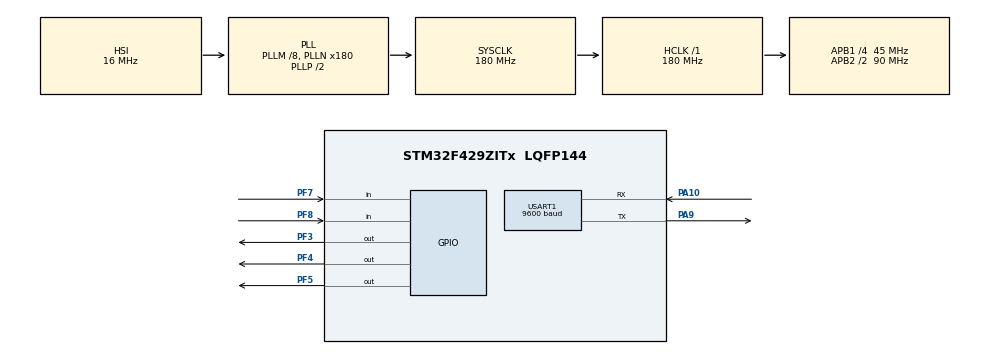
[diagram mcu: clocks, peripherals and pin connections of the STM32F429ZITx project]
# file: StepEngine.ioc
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Mcu.Family=STM32F4
Mcu.Name=STM32F429ZITx
Mcu.Package=LQFP144
NVIC.PriorityGroup=NVIC_PRIORITYGROUP_4
NVIC.USART1_IRQn=true\:0\:0\:false\:false\:true\:true\:true
PA10.Mode=Asynchronous
PA10.Signal=USART1_RX
PA9.Mode=Asynchronous
PA9.Signal=USART1_TX
PF3.Signal=GPIO_Output
PF4.Signal=GPIO_Output
PF5.Signal=GPIO_Output
PF7.Signal=GPIO_Input
PF8.Signal=GPIO_Input
PH0/OSC_IN.Mode=HSE-External-Oscillator
PH0/OSC_IN.Signal=RCC_OSC_IN
PH1/OSC_OUT.Mode=HSE-External-Oscillator
PH1/OSC_OUT.Signal=RCC_OSC_OUT
ProjectManager.HeapSize=0x200
ProjectManager.StackSize=0x400
ProjectManager.TargetToolchain=MDK-ARM V5
RCC.48MHZClocksFreq_Value=90000000
RCC.AHBFreq_Value=180000000
RCC.APB1CLKDivider=RCC_HCLK_DIV4
RCC.APB1Freq_Value=45000000
RCC.APB1TimFreq_Value=90000000
RCC.APB2CLKDivider=RCC_HCLK_DIV2
RCC.APB2Freq_Value=90000000
RCC.APB2TimFreq_Value=180000000
RCC.CortexFreq_Value=180000000
RCC.HCLKFreq_Value=180000000
RCC.HSE_VALUE=8000000
RCC.HSI_VALUE=16000000
RCC.LSE_VALUE=32768
RCC.PLLM=8
RCC.PLLN=180
RCC.SYSCLKFreq_VALUE=180000000
RCC.SYSCLKSource=RCC_SYSCLKSOURCE_PLLCLK
RCC.VCOOutputFreq_Value=360000000
USART1.BaudRate=9600
USART1.VirtualMode=VM_ASYNC
board=custom

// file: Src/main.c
/* USER CODE BEGIN Header */
/**
  ******************************************************************************
  * @file           : main.c
  * @brief          : Main program body
  ******************************************************************************
  * @attention
  *
  * <h2><center>&copy; Copyright (c) 2020 STMicroelectronics.
  * All rights reserved.</center></h2>
  *
  * This software component is licensed by ST under BSD 3-Clause license,
  * the "License"; You may not use this file except in compliance with the
  * License. You may obtain a copy of the License at:
  *                        opensource.org/licenses/BSD-3-Clause
  *
  ******************************************************************************
  */
/* USER CODE END Header */

#include "main.h"

UART_HandleTypeDef huart1;

void SystemClock_Config(void);
static void MX_GPIO_Init(void);
static void MX_USART1_UART_Init(void);

/* USER CODE BEGIN 0 */
uint8_t data[4];
uint16_t x;
//uint8_t some[5];
//uint16_t step = 0;
// Engine pin
#define 	EN   			GPIOF, GPIO_PIN_3
#define 	DIR  			GPIOF, GPIO_PIN_4
#define 	STEP 			GPIOF, GPIO_PIN_5

// User pin
#define 	left_but	HAL_GPIO_ReadPin(GPIOF, GPIO_PIN_7)
#define 	right_but	HAL_GPIO_ReadPin(GPIOF, GPIO_PIN_8)

void move(uint8_t x){

	if (x == 1){
		HAL_GPIO_WritePin(DIR, GPIO_PIN_SET);
		HAL_GPIO_WritePin(STEP, GPIO_PIN_SET);
		HAL_Delay(1);
		HAL_GPIO_WritePin(STEP, GPIO_PIN_RESET);
		HAL_Delay(1);
	}

	else if (x == 0){
		HAL_GPIO_WritePin(DIR, GPIO_PIN_RESET);
		HAL_GPIO_WritePin(STEP, GPIO_PIN_SET);
		HAL_Delay(1);
		HAL_GPIO_WritePin(STEP, GPIO_PIN_RESET);
		HAL_Delay(1);
	}
}

/* USER CODE END 0 */

int main(void)
{

  /* MCU Configuration--------------------------------------------------------*/

  /* Reset of all peripherals, Initializes the Flash interface and the Systick. */
  HAL_Init();

  /* Configure the system clock */
  SystemClock_Config();

  /* Initialize all configured peripherals */
  MX_GPIO_Init();
  MX_USART1_UART_Init();
  /* USER CODE BEGIN 2 */

	HAL_GPIO_WritePin(EN, GPIO_PIN_SET);

  /* USER CODE END 2 */

  /* Infinite loop */
  /* USER CODE BEGIN WHILE */
	//HAL_UART_Receive_IT(&huart1,(uint8_t*) data,8);
	HAL_UART_Receive_IT(&huart1,(uint8_t*) data, 4);
  while (1)
  {

		if(huart1.RxXferCount==0){
			HAL_UART_Receive_IT(&huart1,(uint8_t*) data, 4);

			x = (data[1] - '0') * 100 + (data[2] - '0') * 10 + (data[3] - '0');
			//x = 200;
			//HAL_UART_Transmit(&huart1, &data[0], 1, 0xFF);
			//HAL_UART_Transmit(&huart1, &data[1], 1, 0xFF);
			//HAL_UART_Transmit(&huart1, &data[2], 1, 0xFF);
			for (int i = 0; i < x; i++){
				move(data[0] - '0');
			}
		}

		if((right_but != GPIO_PIN_SET) && (left_but == GPIO_PIN_SET)){
			HAL_GPIO_WritePin(DIR, GPIO_PIN_SET);
			HAL_GPIO_WritePin(STEP, GPIO_PIN_SET);
			HAL_Delay(1);
			HAL_GPIO_WritePin(STEP, GPIO_PIN_RESET);
			HAL_Delay(1);
			//step--;
			//some[0] = (step / 10000);
			//some[1] = (step / 1000);
			//some[2] = (step / 100);
			//some[3] = (step / 10);
			//some[4] = (step / 1);
			//HAL_UART_Transmit(&huart1, some, 5, 0xFF);
		}

		else if((left_but != GPIO_PIN_SET) && (right_but == GPIO_PIN_SET)){
			HAL_GPIO_WritePin(DIR, GPIO_PIN_RESET);
			HAL_GPIO_WritePin(STEP, GPIO_PIN_SET);
			HAL_Delay(1);
			HAL_GPIO_WritePin(STEP, GPIO_PIN_RESET);
			HAL_Delay(1);
			//step++;
			//some[0] = (step / 10000);
			//some[1] = (step / 1000);
			//some[2] = (step / 100);
			//some[3] = (step / 10);
			//some[4] = (step / 1);
			//HAL_UART_Transmit(&huart1, some, 5, 0xFF);

		}
    /* USER CODE END WHILE */

  }
}

void SystemClock_Config(void)
{
  RCC_OscInitTypeDef RCC_OscInitStruct = {0};
  RCC_ClkInitTypeDef RCC_ClkInitStruct = {0};

  /** Configure the main internal regulator output voltage
  */
  __HAL_RCC_PWR_CLK_ENABLE();
  __HAL_PWR_VOLTAGESCALING_CONFIG(PWR_REGULATOR_VOLTAGE_SCALE1);
  /** Initializes the CPU, AHB and APB busses clocks
  */
  RCC_OscInitStruct.OscillatorType = RCC_OSCILLATORTYPE_HSI;
  RCC_OscInitStruct.HSIState = RCC_HSI_ON;
  RCC_OscInitStruct.HSICalibrationValue = RCC_HSICALIBRATION_DEFAULT;
  RCC_OscInitStruct.PLL.PLLState = RCC_PLL_ON;
  RCC_OscInitStruct.PLL.PLLSource = RCC_PLLSOURCE_HSI;
  RCC_OscInitStruct.PLL.PLLM = 8;
  RCC_OscInitStruct.PLL.PLLN = 180;
  RCC_OscInitStruct.PLL.PLLP = RCC_PLLP_DIV2;
  RCC_OscInitStruct.PLL.PLLQ = 4;
  if (HAL_RCC_OscConfig(&RCC_OscInitStruct) != HAL_OK)
  {
    Error_Handler();
  }
  /** Activate the Over-Drive mode
  */
  if (HAL_PWREx_EnableOverDrive() != HAL_OK)
  {
    Error_Handler();
  }
  /** Initializes the CPU, AHB and APB busses clocks
  */
  RCC_ClkInitStruct.ClockType = RCC_CLOCKTYPE_HCLK|RCC_CLOCKTYPE_SYSCLK
                              |RCC_CLOCKTYPE_PCLK1|RCC_CLOCKTYPE_PCLK2;
  RCC_ClkInitStruct.SYSCLKSource = RCC_SYSCLKSOURCE_PLLCLK;
  RCC_ClkInitStruct.AHBCLKDivider = RCC_SYSCLK_DIV1;
  RCC_ClkInitStruct.APB1CLKDivider = RCC_HCLK_DIV4;
  RCC_ClkInitStruct.APB2CLKDivider = RCC_HCLK_DIV2;

  if (HAL_RCC_ClockConfig(&RCC_ClkInitStruct, FLASH_LATENCY_5) != HAL_OK)
  {
    Error_Handler();
  }
}

static void MX_USART1_UART_Init(void)
{

  huart1.Instance = USART1;
  huart1.Init.BaudRate = 9600;
  huart1.Init.WordLength = UART_WORDLENGTH_8B;
  huart1.Init.StopBits = UART_STOPBITS_1;
  huart1.Init.Parity = UART_PARITY_NONE;
  huart1.Init.Mode = UART_MODE_TX_RX;
  huart1.Init.HwFlowCtl = UART_HWCONTROL_NONE;
  huart1.Init.OverSampling = UART_OVERSAMPLING_16;
  if (HAL_UART_Init(&huart1) != HAL_OK)
  {
    Error_Handler();
  }

}

static void MX_GPIO_Init(void)
{
  GPIO_InitTypeDef GPIO_InitStruct = {0};

  /* GPIO Ports Clock Enable */
  __HAL_RCC_GPIOF_CLK_ENABLE();
  __HAL_RCC_GPIOH_CLK_ENABLE();
  __HAL_RCC_GPIOA_CLK_ENABLE();

  /*Configure GPIO pin Output Level */
  HAL_GPIO_WritePin(GPIOF, GPIO_PIN_3|GPIO_PIN_4|GPIO_PIN_5, GPIO_PIN_RESET);

  /*Configure GPIO pins : PF3 PF4 PF5 */
  GPIO_InitStruct.Pin = GPIO_PIN_3|GPIO_PIN_4|GPIO_PIN_5;
  GPIO_InitStruct.Mode = GPIO_MODE_OUTPUT_PP;
  GPIO_InitStruct.Pull = GPIO_NOPULL;
  GPIO_InitStruct.Speed = GPIO_SPEED_FREQ_LOW;
  HAL_GPIO_Init(GPIOF, &GPIO_InitStruct);

  /*Configure GPIO pins : PF7 PF8 */
  GPIO_InitStruct.Pin = GPIO_PIN_7|GPIO_PIN_8;
  GPIO_InitStruct.Mode = GPIO_MODE_INPUT;
  GPIO_InitStruct.Pull = GPIO_PULLUP;
  HAL_GPIO_Init(GPIOF, &GPIO_InitStruct);

}

void Error_Handler(void)
{
}

/************************ (C) COPYRIGHT STMicroelectronics *****END OF FILE****/
